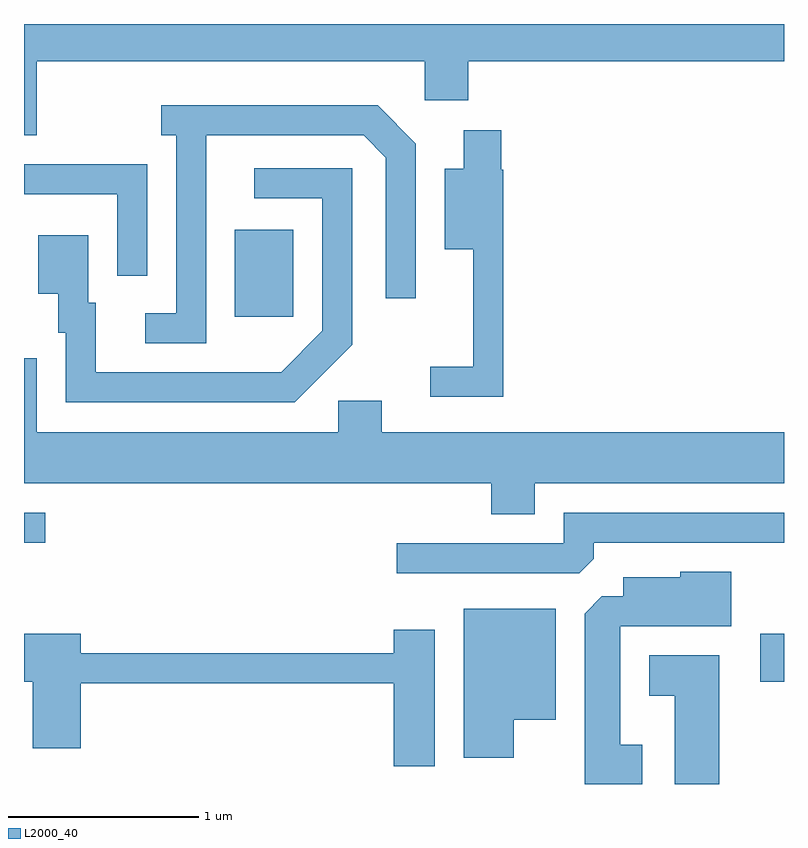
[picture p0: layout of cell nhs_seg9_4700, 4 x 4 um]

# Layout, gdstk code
import gdstk
lib = gdstk.Library(unit=1e-6, precision=1e-09)
def R(c, l, rs):  # rectangles x0, y0, x1, y1
    for r in rs: c.add(gdstk.rectangle(r[:2], r[2:], *l))
def P(c, l, *ps):  # polygons
    for p in ps: c.add(gdstk.Polygon(p, *l))
L2000_40 = (2000, 40)

nhs_seg9_4700 = lib.new_cell('nhs_seg9_4700')
R(nhs_seg9_4700, L2000_40, [(327.486,2012.971,327.611,2013.224), (323.611,2013.701,323.723,2013.859), (324.721,2014.891,325.029,2015.349)])
P(nhs_seg9_4700, L2000_40, [(323.679,2016.236),(325.721,2016.236),(325.721,2016.031),(325.949,2016.031),(325.949,2016.236),(327.611,2016.236),(327.611,2016.432),(323.611,2016.432),(323.611,2015.846),(323.679,2015.846)],
  [(324.569,2015.846),(325.399,2015.846),(325.516,2015.729),(325.516,2014.988),(325.674,2014.988),(325.674,2015.802),(325.472,2016.004),(324.333,2016.004),(324.333,2015.846),(324.411,2015.846),(324.411,2014.909),(324.248,2014.909),(324.248,2014.751),(324.569,2014.751)],
  [(326.134,2015.665),(326.124,2015.665),(326.124,2015.874),(325.926,2015.874),(325.926,2015.669),(325.826,2015.669),(325.826,2015.246),(325.976,2015.246),(325.976,2014.629),(325.748,2014.629),(325.748,2014.471),(326.134,2014.471)],
  [(324.259,2015.694),(323.611,2015.694),(323.611,2015.536),(324.101,2015.536),(324.101,2015.108),(324.259,2015.108)],
  [(325.339,2014.744),(325.339,2015.674),(324.823,2015.674),(324.823,2015.516),(325.181,2015.516),(325.181,2014.817),(324.964,2014.599),(323.989,2014.599),(323.989,2014.964),(323.949,2014.964),(323.949,2015.319),(323.686,2015.319),(323.686,2015.011),(323.791,2015.011),(323.791,2014.806),(323.831,2014.806),(323.831,2014.441),(325.037,2014.441)],
  [(326.299,2014.016),(327.611,2014.016),(327.611,2014.284),(325.494,2014.284),(325.494,2014.449),(325.266,2014.449),(325.266,2014.284),(323.679,2014.284),(323.679,2014.674),(323.611,2014.674),(323.611,2014.016),(326.071,2014.016),(326.071,2013.851),(326.299,2013.851)],
  [(326.609,2013.617),(326.609,2013.701),(327.611,2013.701),(327.611,2013.859),(326.451,2013.859),(326.451,2013.699),(325.573,2013.699),(325.573,2013.541),(326.534,2013.541)],
  [(326.864,2012.639),(326.749,2012.639),(326.749,2013.261),(327.334,2013.261),(327.334,2013.549),(327.066,2013.549),(327.066,2013.519),(326.766,2013.519),(326.766,2013.419),(326.652,2013.419),(326.561,2013.329),(326.561,2012.432),(326.864,2012.432)],
  [(326.189,2012.771),(326.409,2012.771),(326.409,2013.354),(325.926,2013.354),(325.926,2012.571),(326.189,2012.571)],
  [(325.774,2013.244),(325.556,2013.244),(325.556,2013.119),(323.909,2013.119),(323.909,2013.224),(323.611,2013.224),(323.611,2012.971),(323.656,2012.971),(323.656,2012.621),(323.909,2012.621),(323.909,2012.961),(325.556,2012.961),(325.556,2012.526),(325.774,2012.526)],
  [(327.269,2013.109),(326.901,2013.109),(326.901,2012.896),(327.036,2012.896),(327.036,2012.432),(327.269,2012.432)])

lib.write_gds('nhs_seg9_4700.gds')
